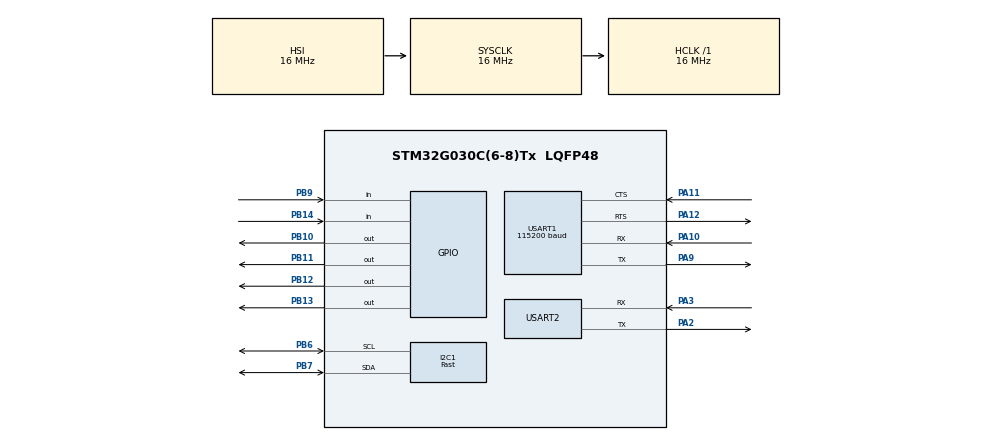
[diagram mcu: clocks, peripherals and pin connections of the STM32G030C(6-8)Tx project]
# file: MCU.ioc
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I2C1.I2C_Speed_Mode=I2C_Fast
I2C1.Timing=0x00300617
Mcu.Family=STM32G0
Mcu.Name=STM32G030C(6-8)Tx
Mcu.Package=LQFP48
PA10.Mode=Asynchronous
PA10.Signal=USART1_RX
PA11\ [PA9].Mode=CTS_RTS
PA11\ [PA9].Signal=USART1_CTS
PA12\ [PA10].Mode=CTS_RTS
PA12\ [PA10].Signal=USART1_RTS
PA2.Mode=Asynchronous
PA2.Signal=USART2_TX
PA3.Mode=Asynchronous
PA3.Signal=USART2_RX
PA5.Signal=ADC1_IN5
PA9.Mode=Asynchronous
PA9.Signal=USART1_TX
PB10.Signal=GPIO_Output
PB11.Signal=GPIO_Output
PB12.Signal=GPIO_Output
PB13.Signal=GPIO_Output
PB14.Signal=GPIO_Input
PB6.Mode=I2C
PB6.Signal=I2C1_SCL
PB7.Mode=I2C
PB7.Signal=I2C1_SDA
PB9.Signal=GPIO_Input
ProjectManager.HeapSize=0x200
ProjectManager.StackSize=0x400
ProjectManager.TargetToolchain=STM32CubeIDE
RCC.AHBFreq_Value=16000000
RCC.CortexFreq_Value=16000000
RCC.EXTERNAL_CLOCK_VALUE=12288000
RCC.HCLKFreq_Value=16000000
RCC.HSE_VALUE=8000000
RCC.HSI_VALUE=16000000
RCC.LSE_VALUE=32768
RCC.SYSCLKFreq_VALUE=16000000
RCC.VCOOutputFreq_Value=128000000
TIM1.Period=199
TIM1.Prescaler=1599
TIM1.TIM_MasterOutputTrigger=TIM_TRGO_UPDATE
TIM1.TIM_MasterOutputTrigger2=TIM_TRGO2_UPDATE
USART1.BaudRate=115200
USART1.VirtualMode-Asynchronous=VM_ASYNC
USART2.VirtualMode-Asynchronous=VM_ASYNC
VP_TIM1_VS_ClockSourceINT.Mode=Internal
board=custom

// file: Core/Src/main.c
/* USER CODE BEGIN Header */
/**
 ******************************************************************************
 * @file           : main.c
 * @brief          : Main program body
 ******************************************************************************
 * @attention
 *
 * Copyright (c) 2026 STMicroelectronics.
 * All rights reserved.
 *
 * This software is licensed under terms that can be found in the LICENSE file
 * in the root directory of this software component.
 * If no LICENSE file comes with this software, it is provided AS-IS.
 *
 ******************************************************************************
 */
/* USER CODE END Header */
#include "main.h"

/* USER CODE BEGIN Includes */
#include "pcm5242/pcm5242.h"
/* USER CODE END Includes */

/* USER CODE BEGIN PTD */
#define FIFO_SIZE 256

typedef struct {
	uint8_t d[FIFO_SIZE];
	uint16_t head;
	uint16_t tail;
} Fifo;
/* USER CODE END PTD */

I2C_HandleTypeDef hi2c1;

TIM_HandleTypeDef htim1;

UART_HandleTypeDef huart1;
UART_HandleTypeDef huart2;

/* USER CODE BEGIN PV */
static Fifo to_pc; // octets venant du module, en attente d'envoi au PC
static Fifo to_bt; // octets venant du PC, en attente d'envoi au module
/* USER CODE END PV */

void SystemClock_Config(void);
static void MX_GPIO_Init(void);
static void MX_TIM1_Init(void);
static void MX_USART1_UART_Init(void);
static void MX_I2C1_Init(void);
static void MX_USART2_UART_Init(void);

/* USER CODE BEGIN 0 */
/* Range dans le tampon l'octet recu, s'il y en a un. Ne bloque jamais. */
static void fifo_rx(UART_HandleTypeDef *src, Fifo *f) {
	USART_TypeDef *u = src->Instance;

	if (u->ISR & (USART_ISR_ORE | USART_ISR_FE | USART_ISR_NE)) {
		u->ICR = USART_ICR_ORECF | USART_ICR_FECF | USART_ICR_NECF;
	}

	if (u->ISR & USART_ISR_RXNE_RXFNE) {
		uint8_t c = (uint8_t) u->RDR;
		uint16_t next = (f->head + 1) % FIFO_SIZE;
		if (next != f->tail) {
			f->d[f->head] = c;
			f->head = next;
		}
	}
}

/* Sort du tampon un octet vers l'UART, s'il est libre. Ne bloque jamais. */
static void fifo_tx(UART_HandleTypeDef *dst, Fifo *f) {
	USART_TypeDef *u = dst->Instance;

	if (f->head != f->tail && (u->ISR & USART_ISR_TXE_TXFNF)) {
		u->TDR = f->d[f->tail];
		f->tail = (f->tail + 1) % FIFO_SIZE;
	}
}

/* Lit src, puis envoie vers dst ce que le tampon contient */
static void bridge(UART_HandleTypeDef *src, UART_HandleTypeDef *dst, Fifo *f) {
	fifo_rx(src, f);
	fifo_tx(dst, f);
}
/* USER CODE END 0 */

int main(void)
{

  /* MCU Configuration--------------------------------------------------------*/

  /* Reset of all peripherals, Initializes the Flash interface and the Systick. */
  HAL_Init();

  /* Configure the system clock */
  SystemClock_Config();

  /* Initialize all configured peripherals */
  MX_GPIO_Init();
  MX_TIM1_Init();
  MX_USART1_UART_Init();
  MX_I2C1_Init();
  MX_USART2_UART_Init();
  /* USER CODE BEGIN 2 */
  const char banner[] = "\r\n---debut de loop ---\r\n";
  HAL_UART_Transmit(&huart2, (uint8_t*) banner, sizeof(banner) - 1, 100);
  /* USER CODE END 2 */

  /* Infinite loop */
  while (1)
  {

    /* USER CODE BEGIN 3 */
    bridge(&huart1, &huart2, &to_pc); // module BT -> PC
    bridge(&huart2, &huart1, &to_bt); // PC -> module BT
    bool checked = pcm5242_checkCom(&hi2c1);
    uint32_t a = 0;
  }
  /* USER CODE END 3 */
}

void SystemClock_Config(void)
{
  RCC_OscInitTypeDef RCC_OscInitStruct = {0};
  RCC_ClkInitTypeDef RCC_ClkInitStruct = {0};

  /** Configure the main internal regulator output voltage
  */
  HAL_PWREx_ControlVoltageScaling(PWR_REGULATOR_VOLTAGE_SCALE1);

  /** Initializes the RCC Oscillators according to the specified parameters
  * in the RCC_OscInitTypeDef structure.
  */
  RCC_OscInitStruct.OscillatorType = RCC_OSCILLATORTYPE_HSI;
  RCC_OscInitStruct.HSIState = RCC_HSI_ON;
  RCC_OscInitStruct.HSIDiv = RCC_HSI_DIV1;
  RCC_OscInitStruct.HSICalibrationValue = RCC_HSICALIBRATION_DEFAULT;
  RCC_OscInitStruct.PLL.PLLState = RCC_PLL_NONE;
  if (HAL_RCC_OscConfig(&RCC_OscInitStruct) != HAL_OK)
  {
    Error_Handler();
  }

  /** Initializes the CPU, AHB and APB buses clocks
  */
  RCC_ClkInitStruct.ClockType = RCC_CLOCKTYPE_HCLK|RCC_CLOCKTYPE_SYSCLK
                              |RCC_CLOCKTYPE_PCLK1;
  RCC_ClkInitStruct.SYSCLKSource = RCC_SYSCLKSOURCE_HSI;
  RCC_ClkInitStruct.AHBCLKDivider = RCC_SYSCLK_DIV1;
  RCC_ClkInitStruct.APB1CLKDivider = RCC_HCLK_DIV1;

  if (HAL_RCC_ClockConfig(&RCC_ClkInitStruct, FLASH_LATENCY_0) != HAL_OK)
  {
    Error_Handler();
  }
}

static void MX_I2C1_Init(void)
{

  hi2c1.Instance = I2C1;
  hi2c1.Init.Timing = 0x00300617;
  hi2c1.Init.OwnAddress1 = 0;
  hi2c1.Init.AddressingMode = I2C_ADDRESSINGMODE_7BIT;
  hi2c1.Init.DualAddressMode = I2C_DUALADDRESS_DISABLE;
  hi2c1.Init.OwnAddress2 = 0;
  hi2c1.Init.OwnAddress2Masks = I2C_OA2_NOMASK;
  hi2c1.Init.GeneralCallMode = I2C_GENERALCALL_DISABLE;
  hi2c1.Init.NoStretchMode = I2C_NOSTRETCH_DISABLE;
  if (HAL_I2C_Init(&hi2c1) != HAL_OK)
  {
    Error_Handler();
  }

  /** Configure Analogue filter
  */
  if (HAL_I2CEx_ConfigAnalogFilter(&hi2c1, I2C_ANALOGFILTER_ENABLE) != HAL_OK)
  {
    Error_Handler();
  }

  /** Configure Digital filter
  */
  if (HAL_I2CEx_ConfigDigitalFilter(&hi2c1, 0) != HAL_OK)
  {
    Error_Handler();
  }

}

static void MX_TIM1_Init(void)
{

  TIM_ClockConfigTypeDef sClockSourceConfig = {0};
  TIM_MasterConfigTypeDef sMasterConfig = {0};

  htim1.Instance = TIM1;
  htim1.Init.Prescaler = 1599;
  htim1.Init.CounterMode = TIM_COUNTERMODE_UP;
  htim1.Init.Period = 199;
  htim1.Init.ClockDivision = TIM_CLOCKDIVISION_DIV1;
  htim1.Init.RepetitionCounter = 0;
  htim1.Init.AutoReloadPreload = TIM_AUTORELOAD_PRELOAD_DISABLE;
  if (HAL_TIM_Base_Init(&htim1) != HAL_OK)
  {
    Error_Handler();
  }
  sClockSourceConfig.ClockSource = TIM_CLOCKSOURCE_INTERNAL;
  if (HAL_TIM_ConfigClockSource(&htim1, &sClockSourceConfig) != HAL_OK)
  {
    Error_Handler();
  }
  sMasterConfig.MasterOutputTrigger = TIM_TRGO_UPDATE;
  sMasterConfig.MasterOutputTrigger2 = TIM_TRGO2_UPDATE;
  sMasterConfig.MasterSlaveMode = TIM_MASTERSLAVEMODE_DISABLE;
  if (HAL_TIMEx_MasterConfigSynchronization(&htim1, &sMasterConfig) != HAL_OK)
  {
    Error_Handler();
  }

}

static void MX_USART1_UART_Init(void)
{

  huart1.Instance = USART1;
  huart1.Init.BaudRate = 115200;
  huart1.Init.WordLength = UART_WORDLENGTH_8B;
  huart1.Init.StopBits = UART_STOPBITS_1;
  huart1.Init.Parity = UART_PARITY_NONE;
  huart1.Init.Mode = UART_MODE_TX_RX;
  huart1.Init.HwFlowCtl = UART_HWCONTROL_RTS_CTS;
  huart1.Init.OverSampling = UART_OVERSAMPLING_16;
  huart1.Init.OneBitSampling = UART_ONE_BIT_SAMPLE_DISABLE;
  huart1.Init.ClockPrescaler = UART_PRESCALER_DIV1;
  huart1.AdvancedInit.AdvFeatureInit = UART_ADVFEATURE_NO_INIT;
  if (HAL_UART_Init(&huart1) != HAL_OK)
  {
    Error_Handler();
  }
  if (HAL_UARTEx_SetTxFifoThreshold(&huart1, UART_TXFIFO_THRESHOLD_1_8) != HAL_OK)
  {
    Error_Handler();
  }
  if (HAL_UARTEx_SetRxFifoThreshold(&huart1, UART_RXFIFO_THRESHOLD_1_8) != HAL_OK)
  {
    Error_Handler();
  }
  if (HAL_UARTEx_DisableFifoMode(&huart1) != HAL_OK)
  {
    Error_Handler();
  }

}

static void MX_USART2_UART_Init(void)
{

  huart2.Instance = USART2;
  huart2.Init.BaudRate = 115200;
  huart2.Init.WordLength = UART_WORDLENGTH_8B;
  huart2.Init.StopBits = UART_STOPBITS_1;
  huart2.Init.Parity = UART_PARITY_NONE;
  huart2.Init.Mode = UART_MODE_TX_RX;
  huart2.Init.HwFlowCtl = UART_HWCONTROL_NONE;
  huart2.Init.OverSampling = UART_OVERSAMPLING_16;
  huart2.Init.OneBitSampling = UART_ONE_BIT_SAMPLE_DISABLE;
  huart2.Init.ClockPrescaler = UART_PRESCALER_DIV1;
  huart2.AdvancedInit.AdvFeatureInit = UART_ADVFEATURE_NO_INIT;
  if (HAL_UART_Init(&huart2) != HAL_OK)
  {
    Error_Handler();
  }

}

static void MX_GPIO_Init(void)
{
  GPIO_InitTypeDef GPIO_InitStruct = {0};

  /* GPIO Ports Clock Enable */
  __HAL_RCC_GPIOA_CLK_ENABLE();
  __HAL_RCC_GPIOB_CLK_ENABLE();

  /*Configure GPIO pin Output Level */
  HAL_GPIO_WritePin(GPIOB, GPIO_PIN_10|GPIO_PIN_11|GPIO_PIN_12|GPIO_PIN_13, GPIO_PIN_RESET);

  /*Configure GPIO pin : PA5 */
  GPIO_InitStruct.Pin = GPIO_PIN_5;
  GPIO_InitStruct.Mode = GPIO_MODE_ANALOG;
  GPIO_InitStruct.Pull = GPIO_NOPULL;
  HAL_GPIO_Init(GPIOA, &GPIO_InitStruct);

  /*Configure GPIO pins : PB10 PB11 PB12 PB13 */
  GPIO_InitStruct.Pin = GPIO_PIN_10|GPIO_PIN_11|GPIO_PIN_12|GPIO_PIN_13;
  GPIO_InitStruct.Mode = GPIO_MODE_OUTPUT_PP;
  GPIO_InitStruct.Pull = GPIO_NOPULL;
  GPIO_InitStruct.Speed = GPIO_SPEED_FREQ_LOW;
  HAL_GPIO_Init(GPIOB, &GPIO_InitStruct);

  /*Configure GPIO pins : PB14 PB9 */
  GPIO_InitStruct.Pin = GPIO_PIN_14|GPIO_PIN_9;
  GPIO_InitStruct.Mode = GPIO_MODE_INPUT;
  GPIO_InitStruct.Pull = GPIO_NOPULL;
  HAL_GPIO_Init(GPIOB, &GPIO_InitStruct);

}

void Error_Handler(void)
{
	__disable_irq();
	while (1) {
	}
}
